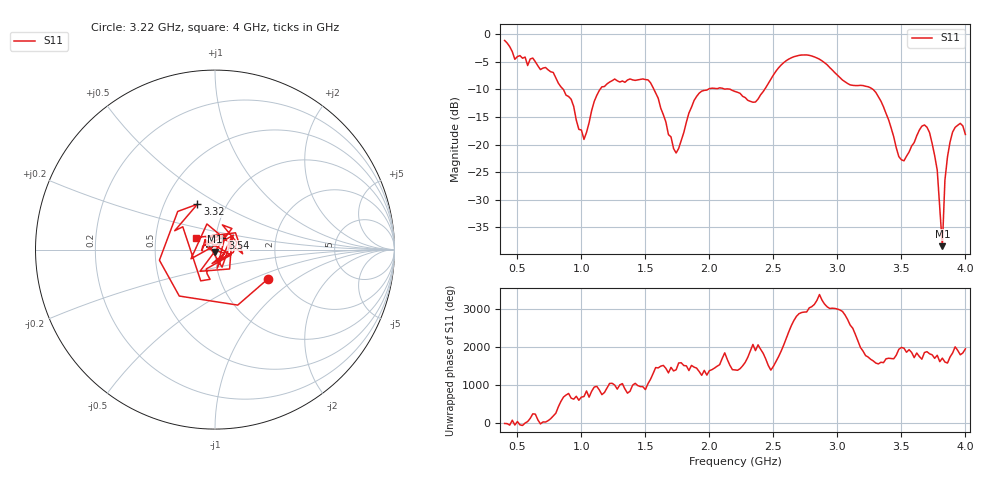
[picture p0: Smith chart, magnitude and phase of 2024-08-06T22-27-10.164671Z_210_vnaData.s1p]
!Created with skrf (http://scikit-rf.org).
# Hz S RI R 50.0
!freq ReS11 ImS11
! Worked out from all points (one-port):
!   181 points, 400 MHz to 4 GHz, reference 50 ohm
!   lowest |S11| = -38.4 dB at 3.82 GHz (marker M1), VSWR 1.02, Z = 49.8 - j1.19 ohm
!   |S11| at or under -10 dB: 858.7 MHz to 1.146 GHz (287 MHz wide, 28.6 % of centre); 1.567 GHz to 1.989 GHz (422.5 MHz wide, 23.8 % of centre); 3.278 GHz to end of sweep (the widest 3 of 4)
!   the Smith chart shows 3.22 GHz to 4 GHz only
!   S11 on the Smith chart (normalised r, x): 3.22 GHz: 1.70, -0.62; 3.32 GHz: 0.73, +0.40; 3.54 GHz: 1.08, +0.14; 4 GHz: 0.81, +0.11
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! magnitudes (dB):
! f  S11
! 400 MHz  -1.1
! 480 MHz  -4.5
! 860 MHz  -10.0
! 1.02 GHz  -19.1
! 1.14 GHz  -10.2
! 1.3 GHz  -8.7
! 1.54 GHz  -8.8
! 1.72 GHz  -20.7
! 1.76 GHz  -20.7
! 1.92 GHz  -10.7
! 2.2 GHz  -10.4
! 2.36 GHz  -12.3
! 2.66 GHz  -4.1
! 2.86 GHz  -4.5
! 3.1 GHz  -9.2
! 3.22 GHz  -9.4
! 3.32 GHz  -11.3
! 3.48 GHz  -22.2
! 3.54 GHz  -22.1
! 3.56 GHz  -21.4
! 3.66 GHz  -16.7
! 3.72 GHz  -17.8
! 3.78 GHz  -24.6
! 3.82 GHz  -38.4
! 3.84 GHz  -26.5
! 3.88 GHz  -19.5
! 3.96 GHz  -16.2
! 4 GHz  -18.2
